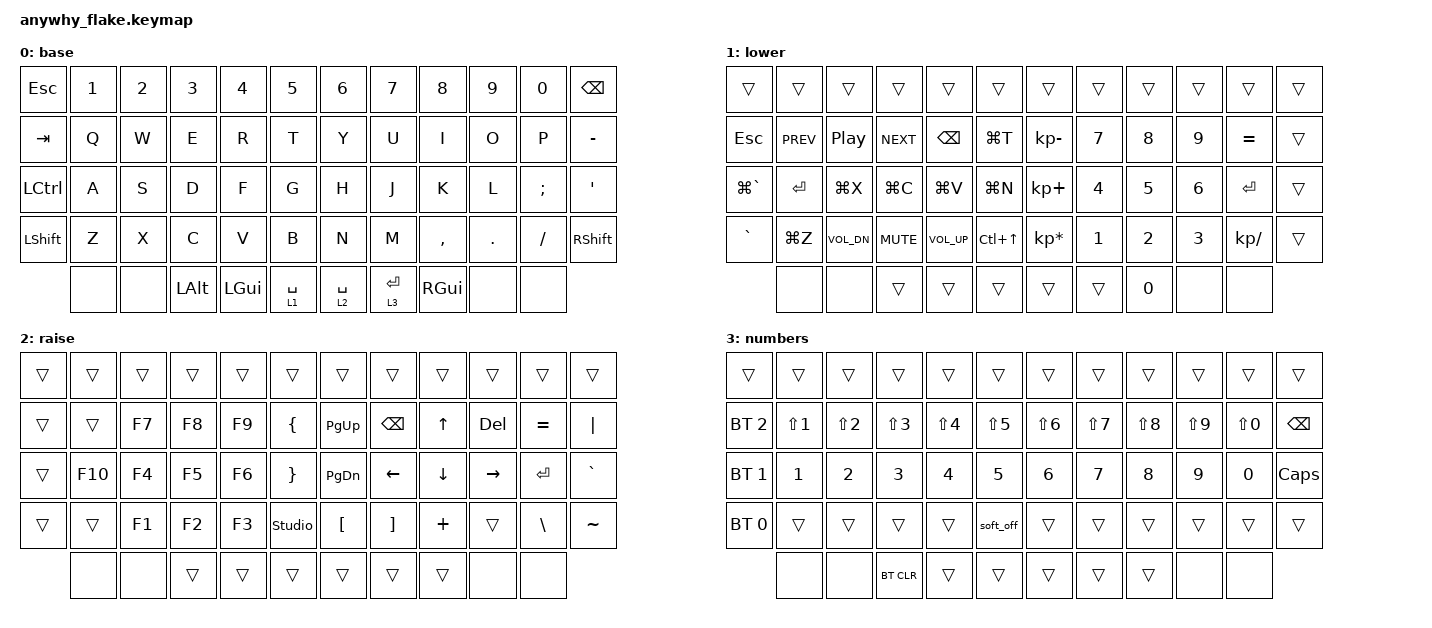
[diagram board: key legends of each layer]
#include <behaviors.dtsi>
#include <dt-bindings/zmk/bt.h>
#include <dt-bindings/zmk/keys.h>

/ {
    combos { compatible = "zmk,combos"; };

    keymap {
        compatible = "zmk,keymap";

        base {
            bindings = <
&kp ESC    &kp N1 &kp N2 &kp N3        &kp N4    &kp N5         &kp N6       &kp N7        &kp N8     &kp N9   &kp N0     &kp BSPC
&kp TAB    &kp Q  &kp W  &kp E         &kp R     &kp T          &kp Y        &kp U         &kp I      &kp O    &kp P      &kp MINUS
&kp LCTRL  &kp A  &kp S  &kp D         &kp F     &kp G          &kp H        &kp J         &kp K      &kp L    &kp SEMI   &kp SQT
&kp LSHFT  &kp Z  &kp X  &kp C         &kp V     &kp B          &kp N        &kp M         &kp COMMA  &kp DOT  &kp SLASH  &kp RIGHT_SHIFT
           &none  &none  &kp LEFT_ALT  &kp LGUI  &lt 1 SPACE    &lt 2 SPACE  &lt 3 RETURN  &kp RGUI   &none    &none
            >;
        };

        lower {
            bindings = <
&trans       &trans        &trans            &trans        &trans           &trans       &trans           &trans        &trans        &trans        &trans         &trans
&kp ESCAPE    &kp C_PREV    &kp C_PLAY_PAUSE  &kp C_NEXT    &kp BACKSPACE    &kp LG(T)    &kp KP_MINUS     &kp NUMBER_7  &kp NUMBER_8  &kp NUMBER_9  &kp EQUAL      &trans
&kp LG(GRAVE) &kp RET       &kp LG(X)         &kp LG(C)     &kp LG(V)        &kp LG(N)    &kp KP_PLUS      &kp NUMBER_4  &kp NUMBER_5  &kp NUMBER_6  &kp RETURN     &trans
&kp GRAVE     &kp LG(Z)     &kp C_VOL_DN      &kp C_MUTE    &kp C_VOLUME_UP  &kp LC(UP)   &kp KP_MULTIPLY  &kp NUMBER_1  &kp NUMBER_2  &kp NUMBER_3  &kp KP_DIVIDE  &trans
              &none         &none             &trans        &trans           &trans       &trans           &trans        &kp NUMBER_0  &none         &none
            >;
        };

        raise {
            bindings = <
&trans  &trans   &trans  &trans  &trans  &trans             &trans            &trans             &trans    &trans     &trans         &trans
&trans  &trans   &kp F7  &kp F8  &kp F9  &kp LEFT_BRACE     &kp PG_UP         &kp BACKSPACE      &kp UP    &kp DEL    &kp EQUAL      &kp PIPE
&trans  &kp F10  &kp F4  &kp F5  &kp F6  &kp RIGHT_BRACE    &kp PG_DN         &kp LEFT           &kp DOWN  &kp RIGHT  &kp ENTER      &kp GRAVE
&trans  &trans   &kp F1  &kp F2  &kp F3  &studio_unlock     &kp LEFT_BRACKET  &kp RIGHT_BRACKET  &kp PLUS  &trans     &kp BACKSLASH  &kp TILDE
        &none    &none   &trans  &trans  &trans             &trans            &trans             &trans    &none      &none
            >;
        };

        numbers {
            bindings = <
&trans        &trans            &trans            &trans            &trans            &trans              &trans            &trans            &trans            &trans            &trans            &trans
&bt BT_SEL 2  &kp LS(NUMBER_1)  &kp LS(NUMBER_2)  &kp LS(NUMBER_3)  &kp LS(NUMBER_4)  &kp LS(NUMBER_5)    &kp LS(NUMBER_6)  &kp LS(NUMBER_7)  &kp LS(NUMBER_8)  &kp LS(NUMBER_9)  &kp LS(NUMBER_0)  &kp BACKSPACE
&bt BT_SEL 1  &kp NUMBER_1      &kp NUMBER_2      &kp NUMBER_3      &kp NUMBER_4      &kp NUMBER_5        &kp NUMBER_6      &kp NUMBER_7      &kp NUMBER_8      &kp NUMBER_9      &kp NUMBER_0      &kp CAPS
&bt BT_SEL 0  &trans            &trans            &trans            &trans            &soft_off           &trans            &trans            &trans            &trans            &trans            &trans
              &none             &none             &bt BT_CLR        &trans            &trans              &trans            &trans            &trans            &none             &none
            >;
        };
    };
};
